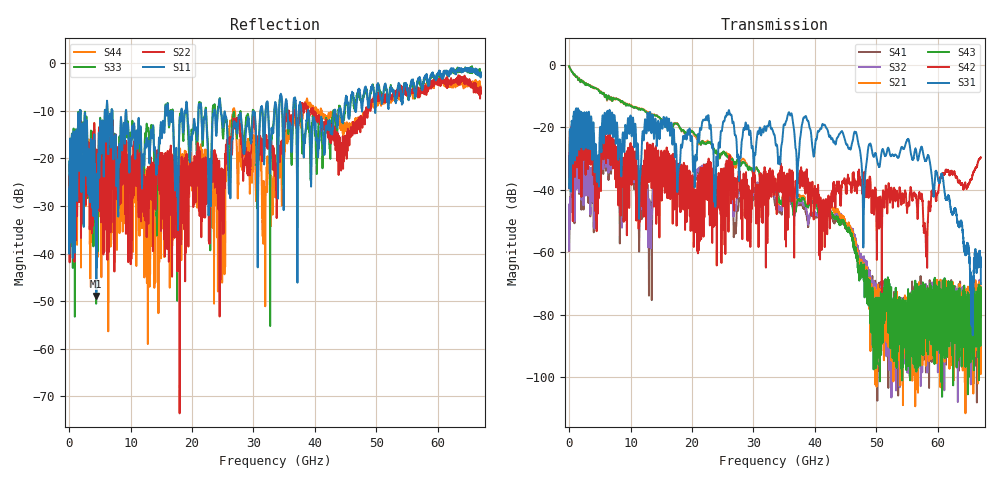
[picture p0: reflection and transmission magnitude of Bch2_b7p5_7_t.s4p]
!Agilent Technologies,N5247A,US51170199,A.09.90.13
!Agilent N5247A: A.09.90.13
!Date: Tuesday, October 23, 2018 10:38:59
!Correction: S11(Full 4 Port(1,2,3,4))
!S12(Full 4 Port(1,2,3,4))
!S13(Full 4 Port(1,2,3,4))
!S14(Full 4 Port(1,2,3,4))
!S21(Full 4 Port(1,2,3,4))
!S22(Full 4 Port(1,2,3,4))
!S23(Full 4 Port(1,2,3,4))
!S24(Full 4 Port(1,2,3,4))
!S31(Full 4 Port(1,2,3,4))
!S32(Full 4 Port(1,2,3,4))
!S33(Full 4 Port(1,2,3,4))
!S34(Full 4 Port(1,2,3,4))
!S41(Full 4 Port(1,2,3,4))
!S42(Full 4 Port(1,2,3,4))
!S43(Full 4 Port(1,2,3,4))
!S44(Full 4 Port(1,2,3,4))
!S4P File: Measurements: <S11,S12,S13,S14>,
!<S21,S22,S23,S24>,
!<S31,S32,S33,S34>,
!<S41,S42,S43,S44>:
# Hz S  dB  R 50
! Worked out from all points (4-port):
!   6701 points, 10 MHz to 67 GHz, reference 50 ohm
!   strongest paths, dB at 10 MHz, 16.76 GHz, 33.51 GHz, 50.25 GHz, 67 GHz:
!     S31: -39.4, -22.8, -23.3, -31.8, -70.2
!     S42: -39.6, -30.3, -37.9, -44.0, -29.6
!     S43: -0.5, -20.0, -39.3, -82.4, -77.0
!     S21: -0.5, -19.6, -40.2, -73.2, -86.8
!     S32: -59.4, -37.8, -42.7, -70.3, -83.6
!     S41: -59.6, -41.1, -44.9, -71.7, -80.6
!   lowest |S11| = -48.9 dB at 4.429 GHz (marker M1), VSWR 1.01, Z = 49.7 + j0.113 ohm
!   |S11| at or under -10 dB: 9.297 GHz to 15.64 GHz (6.339 GHz wide, 50.8 % of centre); 24.68 GHz to 31.13 GHz (6.447 GHz wide, 23.1 % of centre); 38.91 GHz to 43.22 GHz (4.303 GHz wide, 10.5 % of centre)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
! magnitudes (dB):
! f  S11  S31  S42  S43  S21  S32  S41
! 10 MHz  -26.5  -39.4  -39.6  -0.5  -0.5  -59.4  -59.6
! 1.62 GHz  -18.4  -22.5  -28.8  -4.4  -4.4  -38.4  -39.4
! 4.429 GHz  -48.9  -28.8  -30.9  -7.6  -7.6  -43.6  -41.8
! 32.92 GHz  -14.0  -20.3  -42.3  -37.3  -37.2  -38.0  -39.8
! 47.96 GHz  -6.4  -46.1  -34.6  -66.5  -65.6  -62.4  -65.0
! 55.09 GHz  -5.8  -23.9  -44.9  -84.4  -93.9  -80.5  -83.1
! 67 GHz  -1.9  -70.2  -29.6  -77.0  -86.8  -83.6  -80.6
